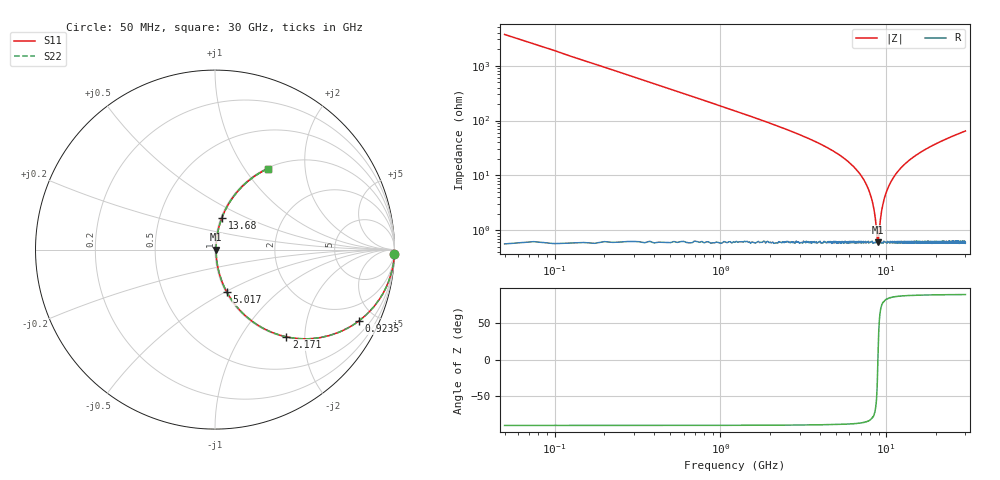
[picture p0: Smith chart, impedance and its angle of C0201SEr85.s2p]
!	AVX Thin Film Operation 	Date: April 2014
!	Description: Accu-P® Series, Thin Film  SMD RF Capacitor
!	Part Number: 02015JR85PBSTR
# MHZ S MA R 50
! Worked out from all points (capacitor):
!   1201 points, 50 MHz to 30 GHz, reference 50 ohm
!   read as one part in series: C = 849 fF near 199.8 MHz
!   lowest |Z| = 605 mohm at 8.91 GHz (marker M1)
!   series resonance near 8.907 GHz, so ESL is about 380 pH
!   S11 on the Smith chart (normalised r, x): 50 MHz: -0, -75; 923.5 MHz: 1.01, -4.01; 2.171 GHz: 1.01, -1.62; 5.017 GHz: 1.01, -0.51; 13.68 GHz: 1.01, +0.37; 30 GHz: 1.01, +1.29
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50  1 -1.5  0.027 88.5  0.027 88.5  1 -1.5
249.667  0.991 -7.6  0.132 82.4  0.132 82.4  0.991 -7.6
374.458  0.98 -11.3  0.196 78.6  0.196 78.6  0.98 -11.3
599.083  0.951 -17.8  0.306 72.1  0.306 72.1  0.951 -17.8
923.542  0.894 -26.5  0.446 63.4  0.446 63.4  0.894 -26.5
2171.458  0.628 -50.7  0.774 38.9  0.774 38.9  0.628 -50.7
3394.417  0.424 -64.2  0.9 25.1  0.9 25.1  0.424 -64.2
5016.708  0.246 -74.4  0.964 14.2  0.964 14.2  0.246 -74.4
5041.667  0.243 -74.5  0.964 14.1  0.964 14.1  0.243 -74.5
6639  0.124 -80.1  0.986 7.1  0.986 7.1  0.124 -80.1
7712.208  0.061 -80.8  0.992 3.5  0.992 3.5  0.061 -80.8
8336.167  0.028 -76.1  0.994 1.6  0.994 1.6  0.028 -76.1
8810.375  0.00756 -36.9  0.994 0.3  0.994 0.3  0.00756 -36.9
8910.208  0.006026 1.3  0.994 -0.0  0.994 -0.0  0.006026 1.3
9484.25  0.027 75.6  0.994 -1.5  0.994 -1.5  0.027 75.6
10058.29  0.051 80.3  0.993 -2.9  0.993 -2.9  0.051 80.3
11455.96  0.106 80.7  0.988 -6.1  0.988 -6.1  0.106 80.7
13677.25  0.182 77.7  0.977 -10.5  0.977 -10.5  0.182 77.7
15025  0.223 75.6  0.969 -12.9  0.969 -12.9  0.223 75.6
20016.67  0.352 68.4  0.93 -20.6  0.93 -20.6  0.352 68.4
25033.29  0.456 62.2  0.884 -27.2  0.884 -27.2  0.456 62.2
30000  0.54 56.8  0.837 -32.7  0.837 -32.7  0.54 56.8
